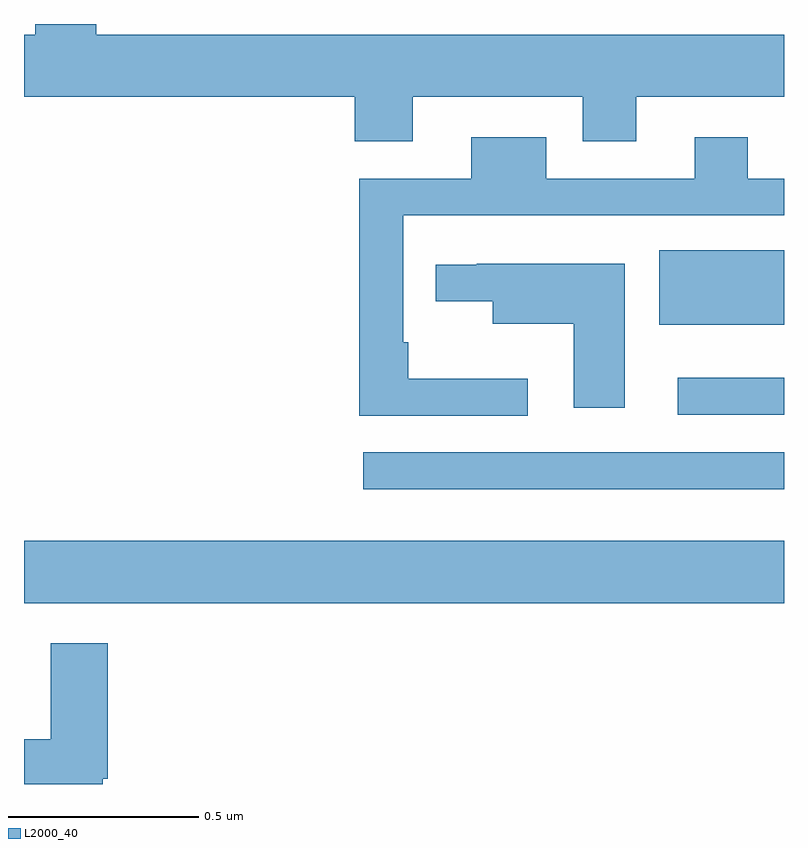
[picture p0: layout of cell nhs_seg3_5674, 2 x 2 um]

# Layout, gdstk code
import gdstk
lib = gdstk.Library(unit=1e-6, precision=1e-09)
def R(c, l, rs):  # rectangles x0, y0, x1, y1
    for r in rs: c.add(gdstk.rectangle(r[:2], r[2:], *l))
def P(c, l, *ps):  # polygons
    for p in ps: c.add(gdstk.Polygon(p, *l))
L2000_40 = (2000, 40)

nhs_seg3_5674 = lib.new_cell('nhs_seg3_5674')
R(nhs_seg3_5674, L2000_40, [(181,740.876,183,741.04), (181.893,741.176,183,741.273), (182.721,741.372,183,741.469), (182.672,741.608,183,741.805)])
P(nhs_seg3_5674, L2000_40, [(182.023,742.208),(182.471,742.208),(182.471,742.091),(182.611,742.091),(182.611,742.208),(183,742.208),(183,742.372),(181.19,742.372),(181.19,742.4),(181.03,742.4),(181.03,742.372),(181,742.372),(181,742.208),(181.871,742.208),(181.871,742.091),(182.023,742.091)],
  [(182.326,741.467),(182.011,741.467),(182.011,741.562),(181.998,741.562),(181.998,741.897),(183,741.897),(183,741.993),(182.905,741.993),(182.905,742.102),(182.765,742.102),(182.765,741.993),(182.374,741.993),(182.374,742.102),(182.177,742.102),(182.177,741.993),(181.882,741.993),(181.882,741.369),(182.326,741.369)],
  [(182.581,741.769),(182.191,741.769),(182.191,741.767),(182.083,741.767),(182.083,741.671),(182.234,741.671),(182.234,741.611),(182.447,741.611),(182.447,741.39),(182.581,741.39)],
  [(181.207,740.414),(181.22,740.414),(181.22,740.77),(181.07,740.77),(181.07,740.518),(181,740.518),(181,740.4),(181.207,740.4)])

lib.write_gds('nhs_seg3_5674.gds')
